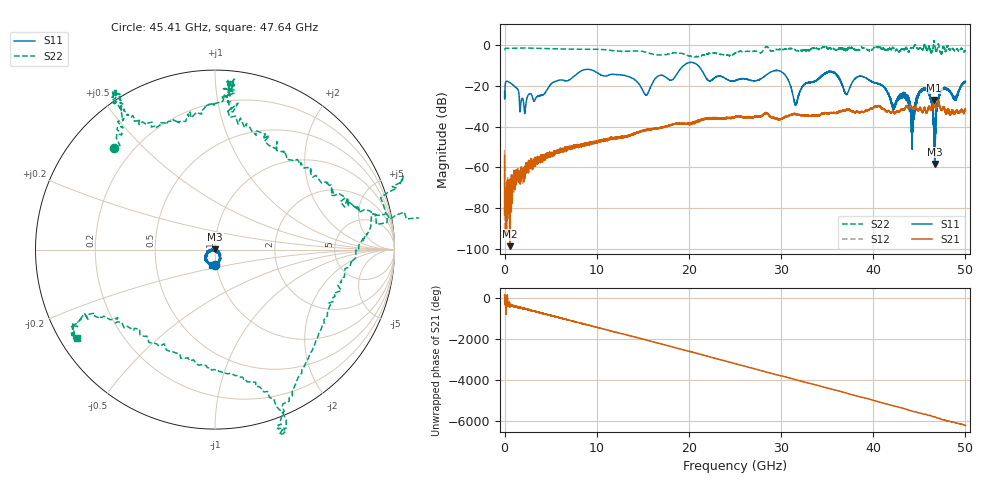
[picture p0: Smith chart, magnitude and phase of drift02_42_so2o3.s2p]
!Created with skrf (http://scikit-rf.org).
# Hz S RI R 50.0
!freq ReS11 ImS11 ReS21 ImS21 ReS12 ImS12 ReS22 ImS22
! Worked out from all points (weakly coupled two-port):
!   10001 points, 300 kHz to 50 GHz, reference 50 ohm
!   highest |S21| = -26.87 dB at 46.61 GHz (marker M1); lowest = -98.7 dB at 565.3 MHz (marker M2)
!   lowest |S11| = -58.4 dB at 46.67 GHz (marker M3), VSWR 1.00, Z = 50 + j0.119 ohm
!   |S11| at or under -10 dB: start of sweep to 19.42 GHz; 21.01 GHz to end of sweep
!   |S22| runs from -5.7 to 2.4 dB; largest |S21 - S12| = 0.003
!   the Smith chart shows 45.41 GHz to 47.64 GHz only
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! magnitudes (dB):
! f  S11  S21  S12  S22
! 300 kHz  -22.8  -54.2  -51.3  -2.1
! 255.3 MHz  -17.6  -75.6  -86.3  -1.4
! 565.3 MHz  -18.3  -98.7  -75.1  -1.5
! 2.185 GHz  -33.6  -65.4  -63.0  -1.3
! 8.335 GHz  -12.5  -48.6  -49.1  -1.9
! 15.34 GHz  -24.5  -41.6  -41.5  -3.3
! 16.67 GHz  -15.1  -41.0  -40.7  -4.7
! 20.3 GHz  -8.4  -37.9  -38.3  -5.6
! 25 GHz  -17.4  -35.5  -35.3  -3.9
! 29.85 GHz  -12.6  -36.4  -36.2  -2.0
! 31.59 GHz  -29.0  -33.7  -33.9  -2.4
! 33.34 GHz  -18.0  -34.4  -34.5  -1.6
! 35.61 GHz  -13.2  -33.2  -33.2  -1.6
! 37.1 GHz  -24.2  -31.7  -31.7  -2.3
! 38.76 GHz  -15.3  -32.7  -32.6  -1.0
! 41.67 GHz  -24.2  -32.2  -32.2  -2.0
! 44.27 GHz  -39.3  -31.2  -31.2  -1.5
! 45.7 GHz  -21.9  -32.5  -32.5  -0.8
! 46.61 GHz  -39.9  -26.9  -27.0  2.1
! 46.67 GHz  -58.4  -28.7  -28.5  0.4
! 47.47 GHz  -21.8  -31.8  -31.5  -3.4
! 50 GHz  -18.0  -31.9  -31.4  -2.7
